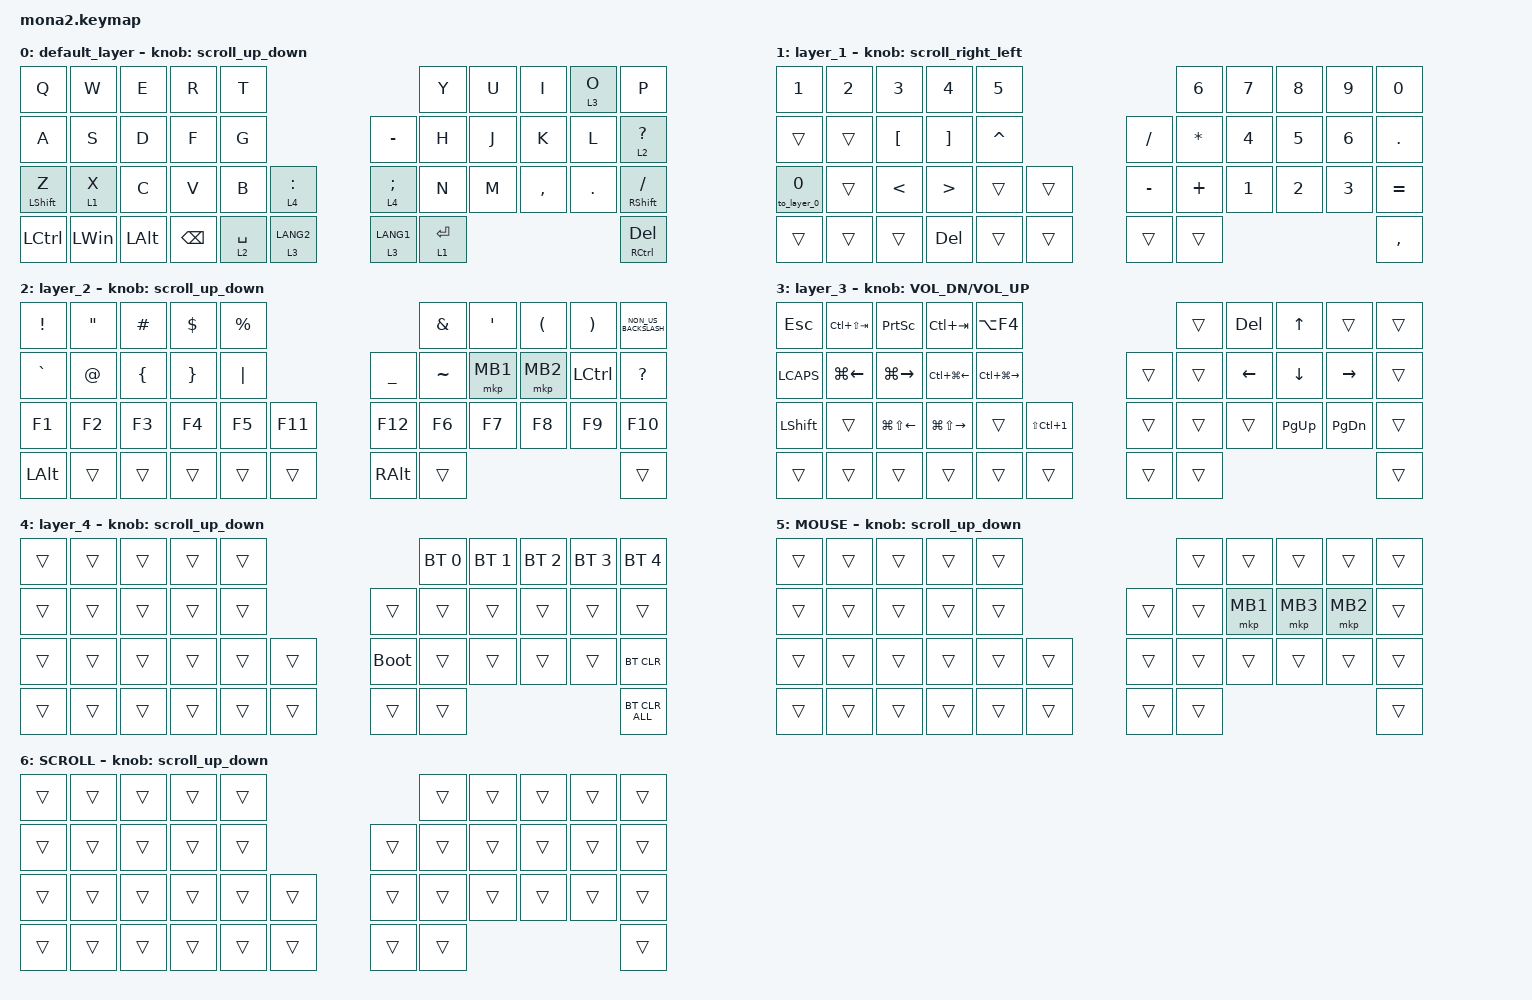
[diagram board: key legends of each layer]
#include <input/processors.dtsi>
#include <dt-bindings/zmk/input_transform.h>
#include <zephyr/dt-bindings/input/input-event-codes.h>
#include <behaviors.dtsi>
#include <dt-bindings/zmk/bt.h>
#include <dt-bindings/zmk/keys.h>
#include <dt-bindings/zmk/pointing.h>

#define ZMK_POINTING_DEFAULT_SCRL_VAL 100
#define MOUSE 5
#define SCROLL 6

&mt {
    flavor = "balanced";
    quick-tap-ms = <0>;
};

&lt {
    quick-tap-ms = <300>;
    flavor = "balanced";
};

/ {
    combos {
        compatible = "zmk,combos";

        layer4_ESC {
            bindings = <&lt 4 ESC>;
            key-positions = <39 38>;
        };

        tab {
            bindings = <&kp TAB>;
            key-positions = <11 12>;
        };
    };

    macros {
        to_layer_0: to_layer_0 {
            compatible = "zmk,behavior-macro-one-param";
            #binding-cells = <1>;
            bindings = <&to 0 &macro_param_1to1 &kp MACRO_PLACEHOLDER>;
            label = "TO_LAYER_0";
        };
    };

    behaviors {
        lt_to_layer_0: lt_to_layer_0 {
            compatible = "zmk,behavior-hold-tap";
            label = "LAYER_TAP_TO_0";
            bindings = <&mo>, <&to_layer_0>;

            #binding-cells = <2>;
            tapping-term-ms = <200>;
        };

        scroll_up_down: mouse_wheel_up_down {
            compatible = "zmk,behavior-sensor-rotate";
            #sensor-binding-cells = <0>;
            bindings = <&msc SCRL_UP>, <&msc SCRL_DOWN>;

            tap-ms = <20>;
        };

        scroll_right_left: mouse_wheel_right_left {
            compatible = "zmk,behavior-sensor-rotate";
            #sensor-binding-cells = <0>;
            bindings = <&msc SCRL_LEFT>, <&msc SCRL_RIGHT>;

            tap-ms = <20>;
        };
    };

    keymap {
        compatible = "zmk,keymap";

        default_layer {
            bindings = <
&kp Q             &kp W         &kp E         &kp R          &kp T                                                              &kp Y        &kp U  &kp I      &lt 3 O  &kp P
&kp A             &kp S         &kp D         &kp F          &kp G                                  &kp MINUS                   &kp H        &kp J  &kp K      &kp L    &lt 2 QUESTION
&mt LEFT_SHIFT Z  &lt 1 X       &kp C         &kp V          &kp B        &lt_to_layer_0 4 COLON    &lt_to_layer_0 4 SEMICOLON  &kp N        &kp M  &kp COMMA  &kp DOT  &mt RIGHT_SHIFT SLASH
&kp LEFT_CONTROL  &kp LEFT_WIN  &kp LEFT_ALT  &kp BACKSPACE  &lt 2 SPACE  &lt 3 LANG2               &lt 3 LANG1                 &lt 1 ENTER                             &mt RIGHT_CONTROL DELETE
            >;

            sensor-bindings = <&scroll_up_down>;
        };

        layer_1 {
            bindings = <
&kp NUMBER_1          &kp NUMBER_2  &kp NUMBER_3      &kp NUMBER_4       &kp NUMBER_5                       &kp NUMBER_6  &kp NUMBER_7  &kp NUMBER_8  &kp NUMBER_9  &kp NUMBER_0
&trans                &trans        &kp LEFT_BRACKET  &kp RIGHT_BRACKET  &kp CARET               &kp SLASH  &kp ASTERISK  &kp NUMBER_4  &kp N5        &kp NUMBER_6  &kp PERIOD
&to_layer_0 NUMBER_0  &trans        &kp LESS_THAN     &kp GREATER_THAN   &trans        &trans    &kp MINUS  &kp PLUS      &kp NUMBER_1  &kp NUMBER_2  &kp NUMBER_3  &kp EQUAL
&trans                &trans        &trans            &kp DEL            &trans        &trans    &trans     &trans                                                  &kp COMMA
            >;

            sensor-bindings = <&scroll_right_left>;
        };

        layer_2 {
            bindings = <
&kp EXCLAMATION  &kp DOUBLE_QUOTES  &kp POUND       &kp DOLLAR       &kp PERCENT                             &kp AMPERSAND  &kp SQT   &kp LEFT_PARENTHESIS  &kp RIGHT_PARENTHESIS  &kp NON_US_BACKSLASH
&kp GRAVE        &kp AT_SIGN        &kp LEFT_BRACE  &kp RIGHT_BRACE  &kp PIPE                &kp UNDERSCORE  &kp TILDE      &mkp MB1  &mkp MB2              &kp LCTRL              &kp QUESTION
&kp F1           &kp F2             &kp F3          &kp F4           &kp F5       &kp F11    &kp F12         &kp F6         &kp F7    &kp F8                &kp F9                 &kp F10
&kp LEFT_ALT     &trans             &trans          &trans           &trans       &trans     &kp RIGHT_ALT   &trans                                                                &trans
            >;

            sensor-bindings = <&scroll_up_down>;
        };

        layer_3 {
            bindings = <
&kp ESCAPE  &kp LC(LS(TAB))     &kp PRINTSCREEN         &kp LC(TAB)              &kp LA(F4)                                               &trans  &kp DELETE      &kp UP_ARROW    &trans           &trans
&kp LCAPS   &kp LG(LEFT_ARROW)  &kp LG(RIGHT_ARROW)     &kp LC(LG(LEFT_ARROW))   &kp LC(LG(RIGHT_ARROW))                          &trans  &trans  &kp LEFT_ARROW  &kp DOWN_ARROW  &kp RIGHT_ARROW  &trans
&kp LSHIFT  &trans              &kp LG(LS(LEFT_ARROW))  &kp LG(LS(RIGHT_ARROW))  &trans                   &kp LS(LC(NUMBER_1))    &trans  &trans  &trans          &kp PAGE_UP     &kp PAGE_DOWN    &trans
&trans      &trans              &trans                  &trans                   &trans                   &trans                  &trans  &trans                                                   &trans
            >;

            sensor-bindings = <&inc_dec_kp C_VOL_DN C_VOL_UP>;
        };

        layer_4 {
            bindings = <
&trans  &trans  &trans  &trans  &trans                         &bt BT_SEL 0  &bt BT_SEL 1  &bt BT_SEL 2  &bt BT_SEL 3  &bt BT_SEL 4
&trans  &trans  &trans  &trans  &trans            &trans       &trans        &trans        &trans        &trans        &trans
&trans  &trans  &trans  &trans  &trans  &trans    &bootloader  &trans        &trans        &trans        &trans        &bt BT_CLR
&trans  &trans  &trans  &trans  &trans  &trans    &trans       &trans                                                  &bt BT_CLR_ALL
            >;

            sensor-bindings = <&scroll_up_down>;
        };

        MOUSE {
            bindings = <
&trans  &trans  &trans  &trans  &trans                    &trans  &trans    &trans    &trans    &trans
&trans  &trans  &trans  &trans  &trans            &trans  &trans  &mkp MB1  &mkp MB3  &mkp MB2  &trans
&trans  &trans  &trans  &trans  &trans  &trans    &trans  &trans  &trans    &trans    &trans    &trans
&trans  &trans  &trans  &trans  &trans  &trans    &trans  &trans                                &trans
            >;

            sensor-bindings = <&scroll_up_down>;
        };

        SCROLL {
            bindings = <
&trans  &trans  &trans  &trans  &trans                    &trans  &trans  &trans  &trans  &trans
&trans  &trans  &trans  &trans  &trans            &trans  &trans  &trans  &trans  &trans  &trans
&trans  &trans  &trans  &trans  &trans  &trans    &trans  &trans  &trans  &trans  &trans  &trans
&trans  &trans  &trans  &trans  &trans  &trans    &trans  &trans                          &trans
            >;

            sensor-bindings = <&scroll_up_down>;
        };
    };
};
